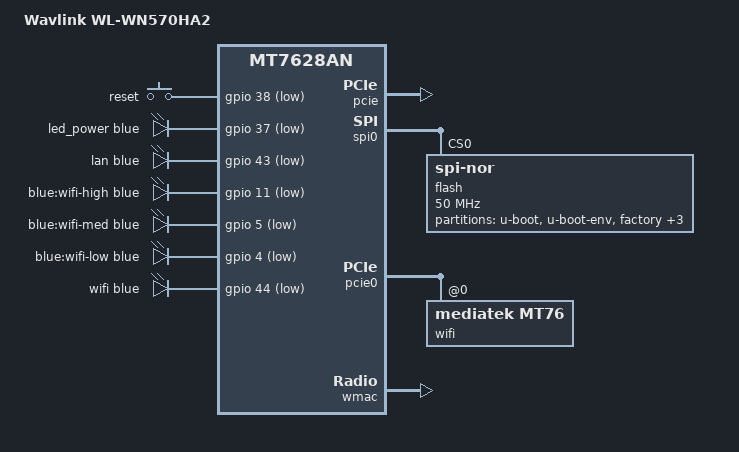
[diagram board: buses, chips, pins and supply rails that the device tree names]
// SPDX-License-Identifier: GPL-2.0-or-later OR MIT

#include "mt7628an.dtsi"

#include <dt-bindings/input/input.h>
#include <dt-bindings/leds/common.h>
#include <dt-bindings/gpio/gpio.h>

/ {
	compatible = "wavlink,wl-wn570ha2", "mediatek,mt7628an-soc";
	model = "Wavlink WL-WN570HA2";

	aliases {
		led-boot = &led_power;
		led-failsafe = &led_power;
		led-running = &led_power;
		led-upgrade = &led_power;
	};

	keys {
		compatible = "gpio-keys";

		reset {
			label = "reset";
			gpios = <&gpio 38 GPIO_ACTIVE_LOW>;
			linux,code = <KEY_RESTART>;
		};
	};

	leds {
		compatible = "gpio-leds";

		led_power: power {
			function = LED_FUNCTION_POWER;
			color = <LED_COLOR_ID_BLUE>;
			gpios = <&gpio 37 GPIO_ACTIVE_LOW>;
		};

		lan {
			function = LED_FUNCTION_LAN;
			color = <LED_COLOR_ID_BLUE>;
			gpios = <&gpio 43 GPIO_ACTIVE_LOW>;
		};

		wifi-high {
			label = "blue:wifi-high";
			color = <LED_COLOR_ID_BLUE>;
			gpios = <&gpio 11 GPIO_ACTIVE_LOW>;
		};

		wifi-med {
			label = "blue:wifi-med";
			color = <LED_COLOR_ID_BLUE>;
			gpios = <&gpio 5 GPIO_ACTIVE_LOW>;
		};

		wifi-low {
			label = "blue:wifi-low";
			color = <LED_COLOR_ID_BLUE>;
			gpios = <&gpio 4 GPIO_ACTIVE_LOW>;
		};

		wifi {
			function = LED_FUNCTION_WLAN;
			color = <LED_COLOR_ID_BLUE>;
			gpios = <&gpio 44 GPIO_ACTIVE_LOW>;
			linux,default-trigger = "phy0tpt";
		};
	};
};

&state_default {
	gpio {
		groups = "i2c", "wled_an", "p0led_an", "wdt", "refclk";
		function = "gpio";
	};
};

&pcie {
	status = "okay";
};

&spi0 {
	status = "okay";

	flash@0 {
		compatible = "jedec,spi-nor";
		reg = <0>;
		spi-max-frequency = <50000000>;

		partitions {
			compatible = "fixed-partitions";
			#address-cells = <1>;
			#size-cells = <1>;

			partition@0 {
				label = "u-boot";
				reg = <0x0 0x30000>;
				read-only;
			};

			partition@30000 {
				label = "u-boot-env";
				reg = <0x30000 0x10000>;
			};

			partition@40000 {
				label = "factory";
				reg = <0x40000 0x10000>;

				nvmem-layout {
					compatible = "fixed-layout";
					#address-cells = <1>;
					#size-cells = <1>;

					eeprom_factory_0: eeprom@0 {
						reg = <0x0 0x400>;
					};

					eeprom_factory_8000: eeprom@8000 {
						/* MT7613 has unique eeprom size '0x4da8' */
						reg = <0x8000 0x4da8>;
					};

					macaddr_factory_4: macaddr@4 {
						reg = <0x4 0x6>;
					};

					macaddr_factory_28: macaddr@28 {
						reg = <0x28 0x6>;
					};

					macaddr_factory_4004: macaddr@4004 {
						reg = <0x4004 0x6>;
					};
				};
			};

			partition@50000 {
				compatible = "denx,uimage";
				label = "firmware";
				reg = <0x50000 0xf20000>;
			};

			partition@f70000 {
				label = "vendor";
				reg = <0xf70000 0x80000>;
				read-only;
			};

			partition@ff0000 {
				label = "hw";
				reg = <0xff0000 0x10000>;
				read-only;
			};
		};
	};
};

&pcie0 {
	wifi@0,0 {
		compatible = "mediatek,mt76";
		reg = <0x0000 0 0 0 0>;
		nvmem-cells = <&eeprom_factory_8000>, <&macaddr_factory_4004>;
		nvmem-cell-names = "eeprom", "mac-address";
		ieee80211-freq-limit = <5000000 6000000>;
	};
};

&wmac {
	status = "okay";

	nvmem-cells = <&eeprom_factory_0>, <&macaddr_factory_4>;
	nvmem-cell-names = "eeprom", "mac-address";
};

&ethernet {
	nvmem-cells = <&macaddr_factory_28>;
	nvmem-cell-names = "mac-address";
};

&esw {
	mediatek,portmap = <0x2f>;
};
